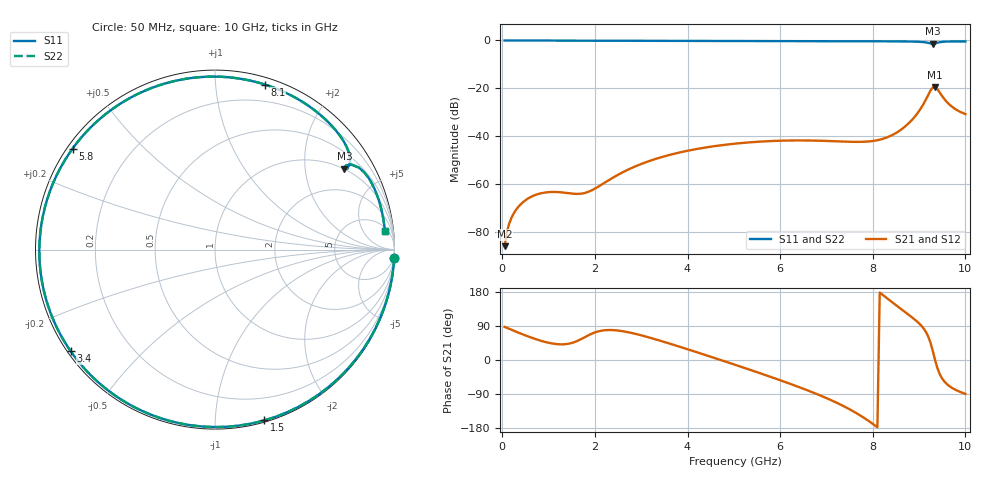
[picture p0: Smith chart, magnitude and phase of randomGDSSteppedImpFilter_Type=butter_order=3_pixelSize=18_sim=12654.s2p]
! freq	dB(S11)	phase(S11)	dB(S12)	phase(S12)
!  dB(S21)	phase(S21)	dB(S22)	phase(S22)
!S-par simulation data
#  GHz  S  DB  R 50
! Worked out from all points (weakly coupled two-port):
!   200 points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, 50 MHz to 10 GHz, reference 50 ohm
!   highest |S21| = -19.42 dB at 9.35 GHz (marker M1); lowest = -85.8 dB at 50 MHz (marker M2)
!   lowest |S11| = -1.4 dB at 9.3 GHz (marker M3), VSWR 12.40, Z = 49.1 + j160 ohm
!   |S11| at or under -10 dB: nowhere
!   |S22| runs from -1.4 to 0.0 dB; largest |S21 - S12| = 0
!   S11 on the Smith chart (normalised r, x): 50 MHz: 0, -43; 1.5 GHz: 0.01, -1.33; 3.4 GHz: 0.01, -0.32; 5.8 GHz: 0.02, +0.32; 8.1 GHz: 0.06, +1.35; 10 GHz: 7, +15
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0.05  -0.00 -2.6  -85.82 87.4  -85.82 87.4  -0.00 -2.6
0.1  -0.01 -5.3  -79.83 84.8  -79.83 84.8  -0.01 -5.3
0.2  -0.02 -10.5  -73.91 79.7  -73.91 79.7  -0.02 -10.5
0.3  -0.02 -15.7  -70.56 74.6  -70.56 74.6  -0.02 -15.7
0.6  -0.04 -31.0  -65.46 60.3  -65.46 60.3  -0.04 -31.0
1  -0.06 -50.8  -63.27 45.4  -63.27 45.4  -0.06 -50.8
1.5  -0.09 -73.9  -63.87 45.0  -63.87 45.0  -0.09 -73.9
1.75  -0.10 -84.7  -63.77 58.2  -63.77 58.2  -0.10 -84.7
2.5  -0.12 -114.2  -56.02 77.7  -56.02 77.7  -0.12 -114.2
3.4  -0.15 -144.9  -48.90 51.3  -48.90 51.3  -0.15 -144.9
4.2  -0.17 -169.3  -45.28 20.6  -45.28 20.6  -0.17 -169.3
5.05  -0.21 166.1  -43.01 -13.5  -43.01 -13.5  -0.21 166.1
5.8  -0.24 144.7  -41.97 -44.7  -41.97 -44.7  -0.24 144.6
6.7  -0.28 118.2  -41.76 -85.3  -41.76 -85.3  -0.28 118.1
7.45  -0.31 94.8  -42.24 -126.8  -42.24 -126.8  -0.31 94.7
8.1  -0.35 73.2  -41.62 -177.4  -41.62 -177.4  -0.35 73.1
8.35  -0.37 64.5  -40.11 159.1  -40.11 159.1  -0.37 64.4
8.85  -0.47 46.2  -33.07 112.3  -33.07 112.3  -0.47 46.0
9.3  -1.40 32.0  -19.50 22.0  -19.50 22.0  -1.40 31.9
9.35  -1.25 32.8  -19.42 -2.3  -19.42 -2.3  -1.26 32.6
9.65  -0.43 20.7  -26.62 -68.5  -26.62 -68.5  -0.43 20.5
10  -0.42 6.4  -30.75 -89.6  -30.75 -89.6  -0.42 6.2
